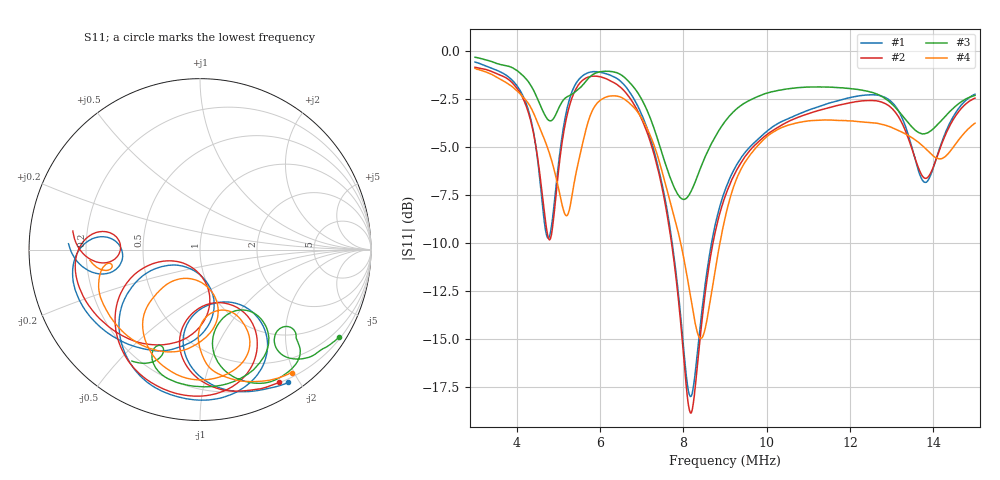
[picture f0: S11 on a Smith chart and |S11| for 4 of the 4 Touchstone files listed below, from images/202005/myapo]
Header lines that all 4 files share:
# Hz S RI R 50
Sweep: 3 MHz to 15 MHz
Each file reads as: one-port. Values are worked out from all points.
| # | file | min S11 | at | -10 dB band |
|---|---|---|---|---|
| 1 | apogee_black.s1p | -18.0 dB | 8.167 MHz | 947.1 kHz wide |
| 2 | apogee_brown.s1p | -18.9 dB | 8.19 MHz | 997.4 kHz wide |
| 3 | apogee_green.s1p | -7.7 dB | 8 MHz | - |
| 4 | apogee_yellow.s1p | -15.0 dB | 8.405 MHz | 946.2 kHz wide |
